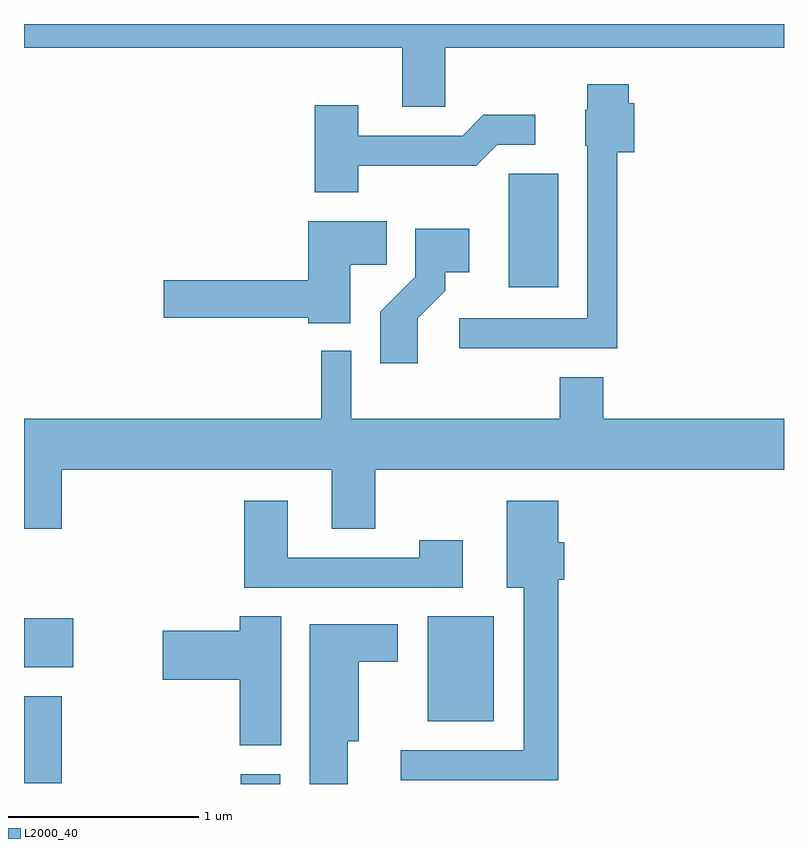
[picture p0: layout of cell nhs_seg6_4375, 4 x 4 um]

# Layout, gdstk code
import gdstk
lib = gdstk.Library(unit=1e-6, precision=1e-09)
def R(c, l, rs):  # rectangles x0, y0, x1, y1
    for r in rs: c.add(gdstk.rectangle(r[:2], r[2:], *l))
def P(c, l, *ps):  # polygons
    for p in ps: c.add(gdstk.Polygon(p, *l))
L2000_40 = (2000, 40)

nhs_seg6_4375 = lib.new_cell('nhs_seg6_4375')
R(nhs_seg6_4375, L2000_40, [(320.751,1546.162,320.959,1546.214), (319.611,1546.166,319.809,1546.624), (321.736,1546.491,322.084,1547.044), (319.611,1546.776,319.869,1547.034), (322.161,1548.776,322.424,1549.374)])
P(nhs_seg6_4375, L2000_40, [(319.611,1550.036),(321.601,1550.036),(321.601,1549.726),(321.829,1549.726),(321.829,1550.036),(323.611,1550.036),(323.611,1550.162),(319.611,1550.162)],
  [(322.734,1549.486),(322.824,1549.486),(322.824,1549.744),(322.794,1549.744),(322.794,1549.844),(322.576,1549.844),(322.576,1549.71),(322.566,1549.71),(322.566,1549.52),(322.576,1549.52),(322.576,1548.614),(321.903,1548.614),(321.903,1548.456),(322.734,1548.456)],
  [(321.369,1549.416),(321.992,1549.416),(322.102,1549.526),(322.303,1549.526),(322.303,1549.684),(322.029,1549.684),(321.919,1549.574),(321.369,1549.574),(321.369,1549.734),(321.141,1549.734),(321.141,1549.276),(321.369,1549.276)],
  [(321.329,1548.896),(321.519,1548.896),(321.519,1549.124),(321.106,1549.124),(321.106,1548.814),(320.346,1548.814),(320.346,1548.616),(321.106,1548.616),(321.106,1548.586),(321.329,1548.586)],
  [(321.684,1548.614),(321.829,1548.759),(321.829,1548.856),(321.954,1548.856),(321.954,1549.084),(321.671,1549.084),(321.671,1548.832),(321.486,1548.647),(321.486,1548.376),(321.684,1548.376)],
  [(319.809,1547.816),(321.231,1547.816),(321.231,1547.506),(321.459,1547.506),(321.459,1547.816),(323.611,1547.816),(323.611,1548.084),(322.659,1548.084),(322.659,1548.304),(322.431,1548.304),(322.431,1548.084),(321.334,1548.084),(321.334,1548.443),(321.176,1548.443),(321.176,1548.084),(319.611,1548.084),(319.611,1547.506),(319.809,1547.506)],
  [(321.919,1547.444),(321.691,1547.444),(321.691,1547.354),(320.999,1547.354),(320.999,1547.654),(320.771,1547.654),(320.771,1547.196),(321.919,1547.196)],
  [(322.424,1547.236),(322.454,1547.236),(322.454,1547.434),(322.424,1547.434),(322.424,1547.654),(322.151,1547.654),(322.151,1547.196),(322.241,1547.196),(322.241,1546.339),(321.593,1546.339),(321.593,1546.181),(322.424,1546.181)],
  [(320.964,1547.044),(320.746,1547.044),(320.746,1546.969),(320.341,1546.969),(320.341,1546.711),(320.746,1546.711),(320.746,1546.366),(320.964,1546.366)],
  [(321.314,1546.386),(321.374,1546.386),(321.374,1546.806),(321.579,1546.806),(321.579,1547.004),(321.116,1547.004),(321.116,1546.162),(321.314,1546.162)])

lib.write_gds('nhs_seg6_4375.gds')
